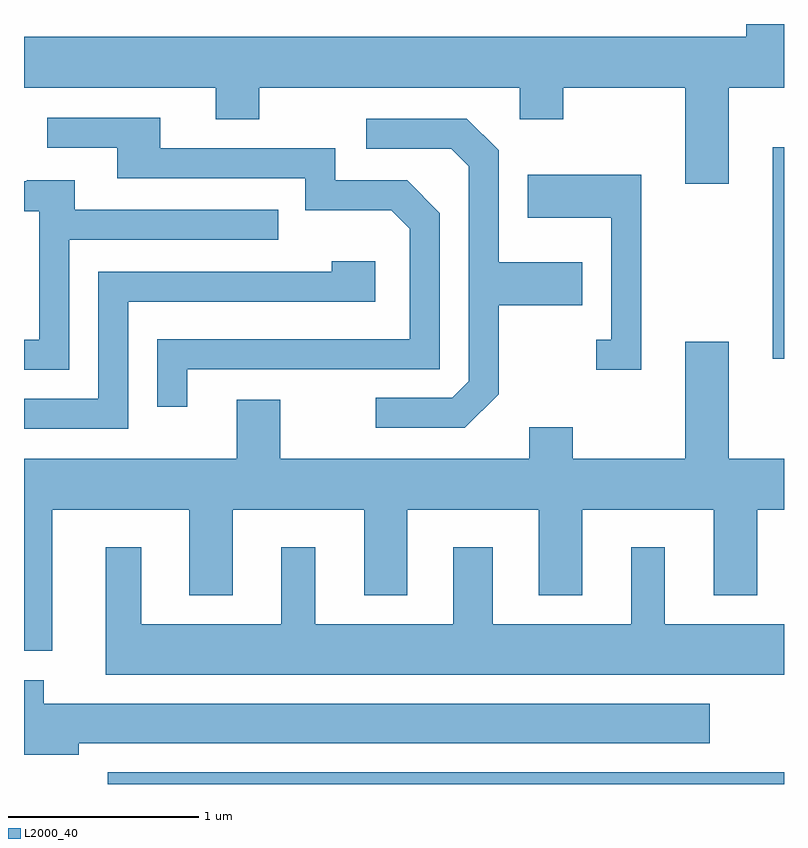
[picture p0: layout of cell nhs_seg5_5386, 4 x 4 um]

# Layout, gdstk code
import gdstk
lib = gdstk.Library(unit=1e-6, precision=1e-09)
def R(c, l, rs):  # rectangles x0, y0, x1, y1
    for r in rs: c.add(gdstk.rectangle(r[:2], r[2:], *l))
def P(c, l, *ps):  # polygons
    for p in ps: c.add(gdstk.Polygon(p, *l))
L2000_40 = (2000, 40)

nhs_seg5_5386 = lib.new_cell('nhs_seg5_5386')
R(nhs_seg5_5386, L2000_40, [(346.051,1402.072,349.611,1402.134), (349.551,1404.311,349.611,1405.424)])
P(nhs_seg5_5386, L2000_40, [(349.319,1405.736),(349.611,1405.736),(349.611,1406.072),(349.411,1406.072),(349.411,1406.004),(345.611,1406.004),(345.611,1405.736),(346.621,1405.736),(346.621,1405.571),(346.849,1405.571),(346.849,1405.736),(348.221,1405.736),(348.221,1405.571),(348.449,1405.571),(348.449,1405.736),(349.091,1405.736),(349.091,1405.231),(349.319,1405.231)],
  [(346.469,1404.256),(347.799,1404.256),(347.799,1405.077),(347.627,1405.249),(347.249,1405.249),(347.249,1405.419),(346.329,1405.419),(346.329,1405.579),(345.733,1405.579),(345.733,1405.421),(346.101,1405.421),(346.101,1405.261),(347.091,1405.261),(347.091,1405.091),(347.544,1405.091),(347.641,1404.994),(347.641,1404.414),(346.311,1404.414),(346.311,1404.058),(346.469,1404.058)],
  [(348.109,1404.124),(348.109,1404.591),(348.549,1404.591),(348.549,1404.819),(348.109,1404.819),(348.109,1405.407),(347.942,1405.574),(347.413,1405.574),(347.413,1405.416),(347.859,1405.416),(347.951,1405.324),(347.951,1404.192),(347.864,1404.104),(347.463,1404.104),(347.463,1403.946),(347.932,1403.946)],
  [(348.859,1405.279),(348.261,1405.279),(348.261,1405.051),(348.701,1405.051),(348.701,1404.409),(348.623,1404.409),(348.623,1404.251),(348.859,1404.251)],
  [(345.849,1404.936),(346.948,1404.936),(346.948,1405.094),(345.879,1405.094),(345.879,1405.249),(345.625,1405.249),(345.625,1405.244),(345.611,1405.244),(345.611,1405.086),(345.691,1405.086),(345.691,1404.409),(345.611,1404.409),(345.611,1404.251),(345.849,1404.251)],
  [(346.159,1404.611),(347.459,1404.611),(347.459,1404.824),(347.231,1404.824),(347.231,1404.769),(346.001,1404.769),(346.001,1404.099),(345.611,1404.099),(345.611,1403.941),(346.159,1403.941)],
  [(345.759,1403.516),(346.481,1403.516),(346.481,1403.066),(346.709,1403.066),(346.709,1403.516),(347.401,1403.516),(347.401,1403.066),(347.629,1403.066),(347.629,1403.516),(348.321,1403.516),(348.321,1403.066),(348.549,1403.066),(348.549,1403.516),(349.241,1403.516),(349.241,1403.066),(349.469,1403.066),(349.469,1403.516),(349.611,1403.516),(349.611,1403.784),(349.319,1403.784),(349.319,1404.399),(349.091,1404.399),(349.091,1403.784),(348.499,1403.784),(348.499,1403.949),(348.271,1403.949),(348.271,1403.784),(346.959,1403.784),(346.959,1404.094),(346.731,1404.094),(346.731,1403.784),(345.611,1403.784),(345.611,1402.773),(345.759,1402.773)],
  [(349.611,1402.914),(348.984,1402.914),(348.984,1403.319),(348.806,1403.319),(348.806,1402.914),(348.079,1402.914),(348.079,1403.319),(347.871,1403.319),(347.871,1402.914),(347.144,1402.914),(347.144,1403.319),(346.966,1403.319),(346.966,1402.914),(346.229,1402.914),(346.229,1403.319),(346.041,1403.319),(346.041,1402.646),(349.611,1402.646)],
  [(345.899,1402.286),(349.219,1402.286),(349.219,1402.494),(345.714,1402.494),(345.714,1402.619),(345.611,1402.619),(345.611,1402.226),(345.899,1402.226)])

lib.write_gds('nhs_seg5_5386.gds')
